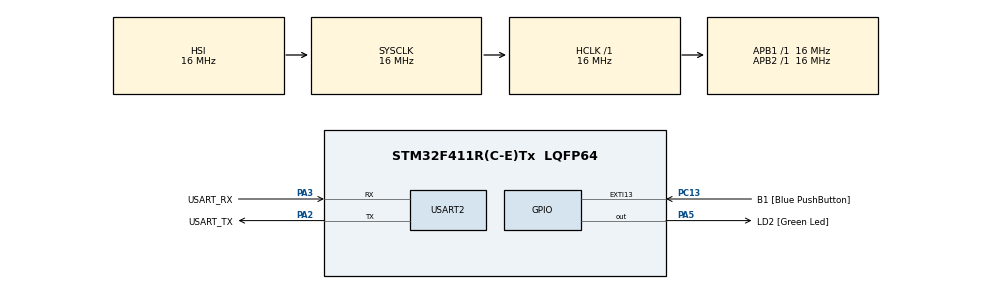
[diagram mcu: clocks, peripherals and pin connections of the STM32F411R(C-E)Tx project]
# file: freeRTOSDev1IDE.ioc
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Dma.Request0=USART2_RX
Dma.USART2_RX.0.Direction=DMA_PERIPH_TO_MEMORY
Dma.USART2_RX.0.FIFOMode=DMA_FIFOMODE_DISABLE
Dma.USART2_RX.0.Instance=DMA1_Stream5
Dma.USART2_RX.0.MemDataAlignment=DMA_MDATAALIGN_BYTE
Dma.USART2_RX.0.MemInc=DMA_MINC_ENABLE
Dma.USART2_RX.0.Mode=DMA_CIRCULAR
Dma.USART2_RX.0.PeriphDataAlignment=DMA_PDATAALIGN_BYTE
Dma.USART2_RX.0.PeriphInc=DMA_PINC_DISABLE
Dma.USART2_RX.0.Priority=DMA_PRIORITY_LOW
FREERTOS.Tasks01=defaultTask,24,128,StartDefaultTask,Default,NULL,Dynamic,NULL,NULL
FREERTOS.configUSE_NEWLIB_REENTRANT=1
Mcu.Family=STM32F4
Mcu.Name=STM32F411R(C-E)Tx
Mcu.Package=LQFP64
NVIC.DMA1_Stream5_IRQn=true\:5\:0\:false\:false\:true\:true\:false\:true\:true
NVIC.PriorityGroup=NVIC_PRIORITYGROUP_4
NVIC.TIM5_IRQn=true\:15\:0\:false\:false\:true\:false\:false\:true\:true
NVIC.TimeBase=TIM5_IRQn
NVIC.TimeBaseIP=TIM5
NVIC.USART2_IRQn=true\:5\:0\:false\:false\:true\:true\:true\:true\:true
PA13.GPIO_Label=TMS
PA13.Mode=Trace_Asynchronous_SW
PA13.Signal=SYS_JTMS-SWDIO
PA14.GPIO_Label=TCK
PA14.Mode=Trace_Asynchronous_SW
PA14.Signal=SYS_JTCK-SWCLK
PA2.GPIO_Label=USART_TX
PA2.Mode=Asynchronous
PA2.Signal=USART2_TX
PA3.GPIO_Label=USART_RX
PA3.GPIO_PuPd=GPIO_PULLUP
PA3.Mode=Asynchronous
PA3.Signal=USART2_RX
PA5.GPIO_Label=LD2 [Green Led]
PA5.Signal=GPIO_Output
PB3.GPIO_Label=SWO
PB3.Mode=Trace_Asynchronous_SW
PB3.Signal=SYS_JTDO-SWO
PC13-ANTI_TAMP.GPIO_Label=B1 [Blue PushButton]
PC13-ANTI_TAMP.GPIO_ModeDefaultEXTI=GPIO_MODE_IT_FALLING
PC13-ANTI_TAMP.Signal=GPXTI13
PC14-OSC32_IN.Mode=LSE-External-Oscillator
PC14-OSC32_IN.Signal=RCC_OSC32_IN
PC15-OSC32_OUT.Mode=LSE-External-Oscillator
PC15-OSC32_OUT.Signal=RCC_OSC32_OUT
PH0\ -\ OSC_IN.Mode=HSE-External-Clock-Source
PH0\ -\ OSC_IN.Signal=RCC_OSC_IN
PH1\ -\ OSC_OUT.Mode=HSE-External-Clock-Source
PH1\ -\ OSC_OUT.Signal=RCC_OSC_OUT
ProjectManager.HeapSize=0x200
ProjectManager.StackSize=0x400
ProjectManager.TargetToolchain=STM32CubeIDE
RCC.48MHZClocksFreq_Value=84000000
RCC.AHBFreq_Value=16000000
RCC.APB1Freq_Value=16000000
RCC.APB1TimFreq_Value=16000000
RCC.APB2Freq_Value=16000000
RCC.APB2TimFreq_Value=16000000
RCC.CortexFreq_Value=16000000
RCC.FLatency-AdvancedSettings=FLASH_LATENCY_0
RCC.HCLKFreq_Value=16000000
RCC.HSE_VALUE=8000000
RCC.HSI_VALUE=16000000
RCC.PLLN=336
RCC.PLLP=RCC_PLLP_DIV4
RCC.SYSCLKFreq_VALUE=16000000
RCC.VCOOutputFreq_Value=336000000
USART2.VirtualMode=VM_ASYNC
VP_FREERTOS_VS_CMSIS_V2.Mode=CMSIS_V2
VP_SYS_VS_tim5.Mode=TIM5
board=NUCLEO-F411RE

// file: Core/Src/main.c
/* USER CODE BEGIN Header */
/**
  ******************************************************************************
  * @file           : main.c
  * @brief          : Main program body
  ******************************************************************************
  * @attention
  *
  * Copyright (c) 2026 STMicroelectronics.
  * All rights reserved.
  *
  * This software is licensed under terms that can be found in the LICENSE file
  * in the root directory of this software component.
  * If no LICENSE file comes with this software, it is provided AS-IS.
  *
  ******************************************************************************
  */
/* USER CODE END Header */
#include "main.h"
#include "cmsis_os.h"

/* USER CODE BEGIN Includes */
#include "FreeRTOS.h"
#include "FreeRTOSConfig.h"
#include "queue.h"
#include "portmacro.h"
#include "stm32f411xe.h"
#include "task.h"
#include "SEGGER_SYSVIEW.h"

#include <stdio.h>
#include <string.h>
#include <stdint.h>
/* USER CODE END Includes */

/* USER CODE BEGIN PTD */
struct AInfo
{
	uint8_t sizeString;
	uint8_t dataString[255];
};
/* USER CODE END PTD */

UART_HandleTypeDef huart2;
DMA_HandleTypeDef hdma_usart2_rx;

/* Definitions for defaultTask */
osThreadId_t defaultTaskHandle;
const osThreadAttr_t defaultTask_attributes = {
  .name = "defaultTask",
  .stack_size = 128 * 4,
  .priority = (osPriority_t) osPriorityNormal,
};
/* USER CODE BEGIN PV */
#define DWT_CTRL (*(volatile uint32_t*)0xE0001000) // DWT_CYCCNT Registro
QueueHandle_t xQueue;
QueueHandle_t xQueueUART;
QueueHandle_t xQueueUARTDMA;
uint8_t g_bufferRX[255];
static const char *msg = NULL;
/* USER CODE END PV */

void SystemClock_Config(void);
static void MX_GPIO_Init(void);
static void MX_DMA_Init(void);
static void MX_USART2_UART_Init(void);
void StartDefaultTask(void *argument);

/* USER CODE BEGIN PFP */
static void vTask_LED1(void *pvParams);
static void vTaskMSG_2(void *pvParams);
static void vTaskSendQueue(void *pvParams);
static void vTaskReceiveQueue(void *pvParams);
static void vTaskReceiveQueueUART(void *pvParams);
static void vTaskReceiveQueueUARTDMA(void *pvParams);
/* USER CODE END PFP */

int main(void)
{

  /* MCU Configuration--------------------------------------------------------*/

  /* Reset of all peripherals, Initializes the Flash interface and the Systick. */
  HAL_Init();

  /* Configure the system clock */
  SystemClock_Config();

  /* Initialize all configured peripherals */
  MX_GPIO_Init();
  MX_DMA_Init();
  MX_USART2_UART_Init();
  /* USER CODE BEGIN 2 */
  HAL_UART_Receive_DMA(&huart2, (uint8_t*)g_bufferRX, 255); // Guardar los datos recibidos en un arreglo buffer
  /* USER CODE END 2 */

  /* Init scheduler */
  osKernelInitialize();

  /* USER CODE BEGIN RTOS_QUEUES */
  /* add queues, ... */
  // Crear una Queue de 10 elementos de 32 bits
  if((xQueue = xQueueCreate(10, sizeof(uint32_t))) == NULL)
  {
	  msg = "Error durante la creacion de Queue\r\n";
	  HAL_UART_Transmit(&huart2, (uint8_t*)msg, strlen(msg), 1000);
  }

  // Crear una Queue de 50 elementos de 8 bits
/*  if((xQueueUART = xQueueCreate(50, sizeof(uint8_t))) == NULL)
  {
	  msg = "Error durante la creacion de QueueUART\r\n";
	  HAL_UART_Transmit(&huart2, (uint8_t*)msg, strlen(msg), 1000);
  }*/

  // Crear una Queue de 5 elementos de 32 bits unsigned
  if((xQueueUARTDMA = xQueueCreate(5, sizeof(struct AInfo *))) == NULL)
  {
	  msg = "Error durante la creacion de QueueUARTDMA\r\n";
	  HAL_UART_Transmit(&huart2, (uint8_t*)msg, strlen(msg), 1000);
  }
  /* USER CODE END RTOS_QUEUES */

  /* Create the thread(s) */
  /* creation of defaultTask */
  //defaultTaskHandle = osThreadNew(StartDefaultTask, NULL, &defaultTask_attributes);

  /* USER CODE BEGIN RTOS_THREADS */
  /* add threads, ... */

  // Enable Cycle Counter
  DWT_CTRL |= (1<<0);

  SEGGER_SYSVIEW_Conf();
  SEGGER_SYSVIEW_Start();

  // Crear Tarea 1
  if((xTaskCreate(vTask_LED1, "Task LED 1", configMINIMAL_STACK_SIZE, NULL, 1, NULL)) != pdTRUE)
  {
	  msg = "Error durante la creacion de Task 1\r\n";
	  HAL_UART_Transmit(&huart2, (uint8_t*)msg, strlen(msg), 1000);
  }

  // Crear Tarea 2
  if((xTaskCreate(vTaskMSG_2, "Task MSG 2", configMINIMAL_STACK_SIZE, NULL, 1, NULL)) != pdTRUE)
  {
	  msg = "Error durante la creacion de Task 2\r\n";
	  HAL_UART_Transmit(&huart2, (uint8_t*)msg, strlen(msg), 1000);
  }

/*  // Crear Tarea SendQueue
  if((xTaskCreate(vTaskSendQueue, "TaskSendQueue", configMINIMAL_STACK_SIZE, NULL, 1, NULL)) != pdTRUE)
  {
	  msg = "Error durante la creacion de vTaskSendQueue\r\n";
	  HAL_UART_Transmit(&huart2, (uint8_t*)msg, strlen(msg), 1000);
  }

  // Crear Tarea ReceiveQueue
  if((xTaskCreate(vTaskReceiveQueue, "TaskReceiveQueue", configMINIMAL_STACK_SIZE, NULL, 1, NULL)) != pdTRUE)
  {
	  msg = "Error durante la creacion de vTaskReceiveQueue\r\n";
	  HAL_UART_Transmit(&huart2, (uint8_t*)msg, strlen(msg), 1000);
  }

  // Crear Tarea ReceiveQueueUART
  if((xTaskCreate(vTaskReceiveQueueUART, "TaskReceiveQueueUART", configMINIMAL_STACK_SIZE, NULL, 2, NULL)) != pdTRUE)
  {
	  msg = "Error durante la creacion de vTaskReceiveQueueUART\r\n";
	  HAL_UART_Transmit(&huart2, (uint8_t*)msg, strlen(msg), 1000);
  }*/

  // Crear Tarea ReceiveQueueUARTDMA
  if((xTaskCreate(vTaskReceiveQueueUARTDMA, "TaskReceiveQueueUARTDMA", configMINIMAL_STACK_SIZE * 2, NULL, 1, NULL)) != pdTRUE)
  {
	  msg = "Error durante la creacion de vTaskReceiveQueueUARTDMA\r\n";
	  HAL_UART_Transmit(&huart2, (uint8_t*)msg, strlen(msg), 1000);
  }

  /* USER CODE END RTOS_THREADS */

  /* Start scheduler */
  osKernelStart();

  /* We should never get here as control is now taken by the scheduler */

  /* Infinite loop */
  while (1)
  {

  }
}

void SystemClock_Config(void)
{
  RCC_OscInitTypeDef RCC_OscInitStruct = {0};
  RCC_ClkInitTypeDef RCC_ClkInitStruct = {0};

  /** Configure the main internal regulator output voltage
  */
  __HAL_RCC_PWR_CLK_ENABLE();
  __HAL_PWR_VOLTAGESCALING_CONFIG(PWR_REGULATOR_VOLTAGE_SCALE1);

  /** Initializes the RCC Oscillators according to the specified parameters
  * in the RCC_OscInitTypeDef structure.
  */
  RCC_OscInitStruct.OscillatorType = RCC_OSCILLATORTYPE_HSI;
  RCC_OscInitStruct.HSIState = RCC_HSI_ON;
  RCC_OscInitStruct.HSICalibrationValue = RCC_HSICALIBRATION_DEFAULT;
  RCC_OscInitStruct.PLL.PLLState = RCC_PLL_NONE;
  if (HAL_RCC_OscConfig(&RCC_OscInitStruct) != HAL_OK)
  {
    Error_Handler();
  }

  /** Initializes the CPU, AHB and APB buses clocks
  */
  RCC_ClkInitStruct.ClockType = RCC_CLOCKTYPE_HCLK|RCC_CLOCKTYPE_SYSCLK
                              |RCC_CLOCKTYPE_PCLK1|RCC_CLOCKTYPE_PCLK2;
  RCC_ClkInitStruct.SYSCLKSource = RCC_SYSCLKSOURCE_HSI;
  RCC_ClkInitStruct.AHBCLKDivider = RCC_SYSCLK_DIV1;
  RCC_ClkInitStruct.APB1CLKDivider = RCC_HCLK_DIV1;
  RCC_ClkInitStruct.APB2CLKDivider = RCC_HCLK_DIV1;

  if (HAL_RCC_ClockConfig(&RCC_ClkInitStruct, FLASH_LATENCY_0) != HAL_OK)
  {
    Error_Handler();
  }
}

static void MX_USART2_UART_Init(void)
{

  huart2.Instance = USART2;
  huart2.Init.BaudRate = 115200;
  huart2.Init.WordLength = UART_WORDLENGTH_8B;
  huart2.Init.StopBits = UART_STOPBITS_1;
  huart2.Init.Parity = UART_PARITY_NONE;
  huart2.Init.Mode = UART_MODE_TX_RX;
  huart2.Init.HwFlowCtl = UART_HWCONTROL_NONE;
  huart2.Init.OverSampling = UART_OVERSAMPLING_16;
  if (HAL_UART_Init(&huart2) != HAL_OK)
  {
    Error_Handler();
  }
  /* USER CODE BEGIN USART2_Init 2 */
  //__HAL_UART_ENABLE_IT(&huart2, UART_IT_RXNE);
  __HAL_UART_ENABLE_IT(&huart2, UART_IT_IDLE); // Habilita la interrupcion del puerto serial en idle
  /* USER CODE END USART2_Init 2 */

}

static void MX_DMA_Init(void)
{

  /* DMA controller clock enable */
  __HAL_RCC_DMA1_CLK_ENABLE();

  /* DMA interrupt init */
  /* DMA1_Stream5_IRQn interrupt configuration */
  HAL_NVIC_SetPriority(DMA1_Stream5_IRQn, 5, 0);
  HAL_NVIC_EnableIRQ(DMA1_Stream5_IRQn);

}

static void MX_GPIO_Init(void)
{
  GPIO_InitTypeDef GPIO_InitStruct = {0};

  /* GPIO Ports Clock Enable */
  __HAL_RCC_GPIOC_CLK_ENABLE();
  __HAL_RCC_GPIOH_CLK_ENABLE();
  __HAL_RCC_GPIOA_CLK_ENABLE();
  __HAL_RCC_GPIOB_CLK_ENABLE();

  /*Configure GPIO pin Output Level */
  HAL_GPIO_WritePin(LD2_GPIO_Port, LD2_Pin, GPIO_PIN_RESET);

  /*Configure GPIO pin : B1_Pin */
  GPIO_InitStruct.Pin = B1_Pin;
  GPIO_InitStruct.Mode = GPIO_MODE_IT_FALLING;
  GPIO_InitStruct.Pull = GPIO_NOPULL;
  HAL_GPIO_Init(B1_GPIO_Port, &GPIO_InitStruct);

  /*Configure GPIO pin : LD2_Pin */
  GPIO_InitStruct.Pin = LD2_Pin;
  GPIO_InitStruct.Mode = GPIO_MODE_OUTPUT_PP;
  GPIO_InitStruct.Pull = GPIO_NOPULL;
  GPIO_InitStruct.Speed = GPIO_SPEED_FREQ_LOW;
  HAL_GPIO_Init(LD2_GPIO_Port, &GPIO_InitStruct);

}

/* USER CODE BEGIN 4 */
static void vTask_LED1(void *pvParams)
{
  for (;;)
  {
	HAL_GPIO_TogglePin(GPIOA, LD2_Pin);
    vTaskDelay(1000 / portTICK_PERIOD_MS);
  }
  vTaskDelete(NULL);
}

static void vTaskMSG_2(void *pvParams)
{
  for (;;)
  {
    printf("%s\n", (char*)pvParams);
    vTaskDelay(1000 / portTICK_PERIOD_MS);
  }
  vTaskDelete(NULL);
}

static void vTaskSendQueue(void *pvParams)
{
  // Declaracion de variables
  uint32_t counterSend = 0;
  char txBuffer[50];
  int len;

  for (;;)
  {
	counterSend++;
	// Si Queue esta lleno, espera a que se libere espacio
	if((xQueueSend(xQueue, &counterSend, pdMS_TO_TICKS(10))) == pdPASS)
	{
		len = sprintf(txBuffer, "Queue Send, value: %lu\r\n", counterSend);
	}
	else
	{
		len = sprintf(txBuffer, "Queue is full!\r\n");
	}
	//taskENTER_CRITICAL();
	vTaskSuspendAll();
	HAL_UART_Transmit(&huart2, (uint8_t*)txBuffer, len, 1000);
	//taskEXIT_CRITICAL();
	xTaskResumeAll();
    vTaskDelay(100 / portTICK_PERIOD_MS);
  }
  vTaskDelete(NULL);
}

static void vTaskReceiveQueue(void *pvParams)
{
  // Declaracion de variables
  uint32_t counterReceive = 0;
  char txBuffer[50];
  int len;

  for (;;)
  {
	// Espera a que el Queue reciva algun valor
	if((xQueueReceive(xQueue, &counterReceive, pdMS_TO_TICKS(10))) == pdPASS)
	{
		len = sprintf(txBuffer, "Queue Receive, value: %lu\r\n", counterReceive);
		//taskENTER_CRITICAL();
		vTaskSuspendAll();
		HAL_UART_Transmit(&huart2, (uint8_t*)txBuffer, len, 1000);
		//taskEXIT_CRITICAL();
		xTaskResumeAll();
	    //vTaskDelay(1000 / portTICK_PERIOD_MS);
	}
  }
  vTaskDelete(NULL);
}

static void vTaskReceiveQueueUART(void *pvParams)
{
  // Declaracion de variables
  uint8_t txData;

  for (;;)
  {
	// Espera a que el Queue reciva algun valor
	if((xQueueReceive(xQueueUART, &txData, portMAX_DELAY)) == pdPASS)
	{
		//taskENTER_CRITICAL();
		vTaskSuspendAll();
		HAL_UART_Transmit(&huart2, &txData, 1, 1000);
		//taskEXIT_CRITICAL();
		xTaskResumeAll();
	}
    //vTaskDelay(1000 / portTICK_PERIOD_MS);
  }
  vTaskDelete(NULL);
}

static void vTaskReceiveQueueUARTDMA(void *pvParams)
{
  // Declaracion de variables
  struct AInfo  * pxInfoTx;

  for (;;)
  {
	// Espera a que el Queue reciva algun valor
	if((xQueueReceive(xQueueUARTDMA, &pxInfoTx, portMAX_DELAY)) == pdPASS)
	{
		//taskENTER_CRITICAL();
		vTaskSuspendAll();
		HAL_UART_Transmit(&huart2, pxInfoTx->dataString, pxInfoTx->sizeString, 1000);
		//taskEXIT_CRITICAL();
		xTaskResumeAll();
	}
    //vTaskDelay(1000 / portTICK_PERIOD_MS);
  }
  vTaskDelete(NULL);
}

/* Interrupcion UART RX
 * void USART_UserInt(UART_HandleTypeDef* huart)
{
	uint8_t rxChar;
	static portBASE_TYPE xHigherPriorityTaskWoken;

	xHigherPriorityTaskWoken = pdFALSE;

	HAL_UART_Receive(&huart2, &rxChar, 1, 10);

	xQueueSendFromISR(xQueueUART, &rxChar, &xHigherPriorityTaskWoken);

	// Colocar el token al final del ISR
	portYIELD_FROM_ISR(xHigherPriorityTaskWoken);
}*/

void USART_UserInt(UART_HandleTypeDef* huart)
{
    // Variable para indicar si se requiere un cambio de contexto
    static portBASE_TYPE xHigherPriorityTaskWoken;

    struct AInfo xInfoRx; // Estructura local para almacenar la trama recibida
    struct AInfo * pxInfoRx = &xInfoRx; // Puntero a la estructura para manipulación
    uint8_t dataLenght;

    xHigherPriorityTaskWoken = pdFALSE; // Inicialmente no hay cambio de contexto

    if(USART2 == huart2.Instance)
    {
        // Detectar si la línea entró en estado IDLE
        if(__HAL_UART_GET_FLAG(&huart2, UART_FLAG_IDLE) != RESET)
        {
            __HAL_UART_CLEAR_IDLEFLAG(&huart2); // Obligatorio: Limpiar bandera para evitar re-entrada

            HAL_UART_DMAStop(&huart2); // Detener DMA para calcular bytes recibidos de forma estática

            // Cálculo de bytes: Tamaño total (255) menos lo que le faltó al DMA por llenar
            dataLenght = 255 - __HAL_DMA_GET_COUNTER(&hdma_usart2_rx);

            if(dataLenght > MAX_STRING_SIZE) dataLenght = MAX_STRING_SIZE;

            xInfoRx.sizeString = dataLenght;
            memcpy(xInfoRx.dataString, g_bufferRX, dataLenght); // Copiar datos del buffer circular del DMA

            // Enviar la estructura por COPIA a la cola (Seguro para variables locales)
            xQueueSendFromISR(xQueueUARTDMA, &xInfoRx, &xHigherPriorityTaskWoken);

            // Reiniciar el DMA para la siguiente trama
            HAL_UART_Receive_DMA(&huart2, (uint8_t*)g_bufferRX, 255);
        }
    }

    // Si xHigherPriorityTaskWoken es pdTRUE, fuerza un cambio de contexto inmediato
    portYIELD_FROM_ISR(xHigherPriorityTaskWoken);
}
/* USER CODE END 4 */

void StartDefaultTask(void *argument)
{
  for(;;)
  {
    osDelay(1);
  }
}

void HAL_TIM_PeriodElapsedCallback(TIM_HandleTypeDef *htim)
{
  if (htim->Instance == TIM5)
  {
    HAL_IncTick();
  }
}

void Error_Handler(void)
{
  __disable_irq();
  while (1)
  {
  }
}
